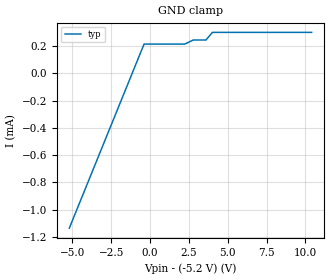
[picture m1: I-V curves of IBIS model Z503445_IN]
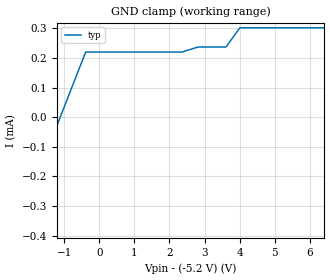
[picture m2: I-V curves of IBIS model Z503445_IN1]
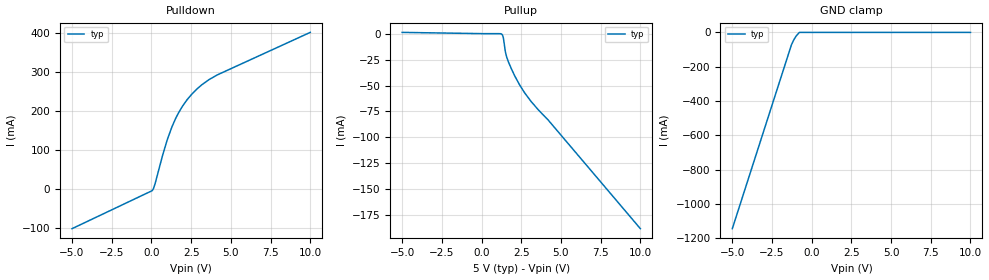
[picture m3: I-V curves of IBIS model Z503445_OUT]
| YOU ARE ONLY AUTHORIZED TO USE THIS SOFTWARE
| ACCORDING TO LICENSOR'S LICENSE RESTRICTIONS.
[IBIS Ver] 3.1
[File Name] mc10h125p.ibs
[File Rev] 2.0
[Source] Measured and created by ICX Technology
[Date] Friday 7/14/00 9:07:50 AM
[Copyright]
| (C) COPYRIGHT 1993-2000
| MENTOR GRAPHICS CORPORATION
| ICX STANDARD LIBRARY, ICX PROJECT MODELING,
| ICX CUSTOM MODELING, ICX VENDOR MODEL
| ALL RIGHTS RESERVED.
| THE FOLLOWING ARE TRADEMARKS OR SERVICE MARKS OF
| MENTOR GRAPHICS CORPORATION:ICX (R), ICX STANDARD
| LIBRARY(R), ICX PROJECT MODELING(R), ICX CUSTOM
| MODELING(R), qualityIBIS(TM), MODELVIEWER(TM),
| AND MODELEDITOR(TM)
| ALL COPIES OF SOFTWARE, INCLUDING BUT NOT LIMITED TO
| ANY MODIFICATIONS, ENHANCEMENTS OR DERIVATIVE WORKS,
| MUST CONTAIN ALL MENTOR GRAPHICS CORPORATION'S
| NOTICES AND LEGENDS, INCLUDING THOSE EMBEDDED IN
| SOFTWARE AND THOSE AFFIXED TO SOFTWARE MEDIUM
| AND CONTAINER, AS RECEIVED FROM MENTOR GRAPHICS
| CORPORATION.
|  ZAP Model Builder 2.7
[Component] MC10H125P
[Manufacturer] OnSemiconductor
[Package]
| variable   typ   min   max
R_pkg  .212ohms NA NA
L_pkg  4.758nH NA NA
C_pkg  1.143pF NA NA
[Pin] signal_name  model_name  R_pin  L_pin C_pin
1 VBB NC .224 7.258n 1.578p
2 _AIN Z503445_IN .216 5.258n 1.288p
3 AIN Z503445_IN1 .208 3.758n .998p
4 AOUT Z503445_OUT .2 2.758n .708p
5 BOUT Z503445_OUT .2 2.758n .708p
6 _BIN Z503445_IN .208 3.758n .998p
7 BIN Z503445_IN .216 5.258n 1.288p
8 VEE POWER .224 7.258n 1.578p
9 VCC POWER .224 7.258n 1.578p
10 _CIN Z503445_IN .216 5.258n 1.288p
11 CIN Z503445_IN .208 3.758n .998p
12 COUT Z503445_OUT .2 2.758n .708p
13 DOUT Z503445_OUT .2 2.758n .708p
14 _DIN Z503445_IN .208 3.758n .998p
15 DIN Z503445_IN .216 5.258n 1.288p
16 GROUND GND .224 7.258n 1.578p
| Models and submodels in the file (3): Z503445_IN (Input_ECL), Z503445_IN1 (Input_ECL), Z503445_OUT (Output)
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| (C) COPYRIGHT 1993-2000
| MENTOR GRAPHICS CORPORATION
| ICX STANDARD LIBRARY, ICX PROJECT MODELING,
| ICX CUSTOM MODELING, ICX VENDOR MODEL
| ALL RIGHTS RESERVED.
| THE FOLLOWING ARE TRADEMARKS OR SERVICE MARKS OF
| MENTOR GRAPHICS CORPORATION:ICX (R), ICX STANDARD
| LIBRARY(R), ICX PROJECT MODELING(R), ICX CUSTOM
| MODELING(R), qualityIBIS(TM), MODELVIEWER(TM),
| AND MODELEDITOR(TM)
| ALL COPIES OF SOFTWARE, INCLUDING BUT NOT LIMITED TO
| ANY MODIFICATIONS, ENHANCEMENTS OR DERIVATIVE WORKS,
| MUST CONTAIN ALL MENTOR GRAPHICS CORPORATION'S
| NOTICES AND LEGENDS, INCLUDING THOSE EMBEDDED IN
| SOFTWARE AND THOSE AFFIXED TO SOFTWARE MEDIUM
| AND CONTAINER, AS RECEIVED FROM MENTOR GRAPHICS
| CORPORATION.
| Model Application Version 1.89 2/18/99.
[Model] Z503445_IN
Model_type Input_ECL
Vinl = -1.480V
Vinh = -1.130V
C_comp 4.000pF NA NA
| variable typ   min   max
[Voltage Range] -5.200V NA NA
[GND Clamp Reference] -5.200V NA NA
[POWER Clamp Reference] 0.000V NA NA
[GND Clamp]
-5.2V     -1.136mA   NA         NA
-388.5mV  214.8uA    NA         NA
2.233V    214.8uA    NA         NA
2.774V    244.5uA    NA         NA
3.598V    244.5uA    NA         NA
4.01V     300.7uA    NA         NA
10.4V     300.7uA    NA         NA
[POWER Clamp]
-5.2V     0A         NA         NA
10.4V     0A         NA         NA
| (C) COPYRIGHT 1993-2000
| MENTOR GRAPHICS CORPORATION
| ICX STANDARD LIBRARY, ICX PROJECT MODELING,
| ICX CUSTOM MODELING, ICX VENDOR MODEL
| ALL RIGHTS RESERVED.
| THE FOLLOWING ARE TRADEMARKS OR SERVICE MARKS OF
| MENTOR GRAPHICS CORPORATION:ICX (R), ICX STANDARD
| LIBRARY(R), ICX PROJECT MODELING(R), ICX CUSTOM
| MODELING(R), qualityIBIS(TM), MODELVIEWER(TM),
| AND MODELEDITOR(TM)
| ALL COPIES OF SOFTWARE, INCLUDING BUT NOT LIMITED TO
| ANY MODIFICATIONS, ENHANCEMENTS OR DERIVATIVE WORKS,
| MUST CONTAIN ALL MENTOR GRAPHICS CORPORATION'S
| NOTICES AND LEGENDS, INCLUDING THOSE EMBEDDED IN
| SOFTWARE AND THOSE AFFIXED TO SOFTWARE MEDIUM
| AND CONTAINER, AS RECEIVED FROM MENTOR GRAPHICS
| CORPORATION.
| Model Application Version 1.89 2/18/99.
[Model] Z503445_IN1
Model_type Input_ECL
Vinl = -1.480V
Vinh = -1.130V
C_comp 4.000pF NA NA
| variable typ   min   max
[Voltage Range] -5.200V NA NA
[GND Clamp Reference] -5.200V NA NA
[POWER Clamp Reference] 0.000V NA NA
[GND Clamp]
-5.2V     -1.238mA   NA         NA
-388.5mV  219.6uA    NA         NA
2.352V    219.6uA    NA         NA
2.817V    236.7uA    NA         NA
3.612V    236.7uA    NA         NA
4.01V     301.6uA    NA         NA
10.4V     301.6uA    NA         NA
[POWER Clamp]
-5.2V     0A         NA         NA
10.4V     0A         NA         NA
| (C) COPYRIGHT 1993-2000
| MENTOR GRAPHICS CORPORATION
| ICX STANDARD LIBRARY, ICX PROJECT MODELING,
| ICX CUSTOM MODELING, ICX VENDOR MODEL
| ALL RIGHTS RESERVED.
| THE FOLLOWING ARE TRADEMARKS OR SERVICE MARKS OF
| MENTOR GRAPHICS CORPORATION:ICX (R), ICX STANDARD
| LIBRARY(R), ICX PROJECT MODELING(R), ICX CUSTOM
| MODELING(R), qualityIBIS(TM), MODELVIEWER(TM),
| AND MODELEDITOR(TM)
| ALL COPIES OF SOFTWARE, INCLUDING BUT NOT LIMITED TO
| ANY MODIFICATIONS, ENHANCEMENTS OR DERIVATIVE WORKS,
| MUST CONTAIN ALL MENTOR GRAPHICS CORPORATION'S
| NOTICES AND LEGENDS, INCLUDING THOSE EMBEDDED IN
| SOFTWARE AND THOSE AFFIXED TO SOFTWARE MEDIUM
| AND CONTAINER, AS RECEIVED FROM MENTOR GRAPHICS
| CORPORATION.
| Model Application Version 1.89 2/18/99.
[Model] Z503445_OUT
Model_type Output
Vref=0.000V
Rref=500.0ohms
Cref=50.00pF
Vmeas=1.500V
C_comp 8.000pF NA NA
| variable typ   min   max
[Voltage Range] 5.000V NA NA
[POWER Clamp Reference] 5.000V NA NA
[Pullup Reference] 5.000V NA NA
[Pulldown Reference] 0.000V NA NA
[GND Clamp Reference] 0.000V NA NA
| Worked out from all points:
|   slope of the pulldown table from 0 to 0.75 V, typ, clamps not added: 7.65 ohm
|   slope of the pullup table from 0 to 0.75 V, typ, clamps not added: 35.2 kohm
|   GND clamp passes 1 mA (typ) near -0.78 V on its own axis
[GND Clamp]
-5V       -1.145A    NA         NA
-1.278V   -73.03mA   NA         NA
-1.132V   -44.28mA   NA         NA
-996.1mV  -23.28mA   NA         NA
-838.9mV  -6.003mA   NA         NA
-769mV    0A         NA         NA
10V       0A         NA         NA
[Pulldown]
-5V       -101.7mA   NA         NA
70.84mV   -2.929mA   NA         NA
233.3mV   14.21mA    NA         NA
693.4mV   85.21mA    NA         NA
986.5mV   125.3mA    NA         NA
1.291V    159.6mA    NA         NA
1.525V    181.3mA    NA         NA
1.968V    213.4mA    NA         NA
2.251V    229.6mA    NA         NA
3.164V    267.3mA    NA         NA
4.194V    293.8mA    NA         NA
10V       402mA      NA         NA
[Pullup]
-5V       1.423mA    NA         NA
1.279V    -442.8uA   NA         NA
1.323V    -1.329mA   NA         NA
1.377V    -4.177mA   NA         NA
1.499V    -17.35mA   NA         NA
1.577V    -22.3mA    NA         NA
1.689V    -27.06mA   NA         NA
2.092V    -40.8mA    NA         NA
2.715V    -57.15mA   NA         NA
3.124V    -65.57mA   NA         NA
4.185V    -83.25mA   NA         NA
10V       -188.6mA   NA         NA
[POWER Clamp]
-5V       0A         NA         NA
10V       0A         NA         NA
[Ramp]
| variable typ min max
dV/dt_r 2.093/1.457n NA NA
dV/dt_f 2.093/1.009n NA NA
R_load = 500.0Ohms
